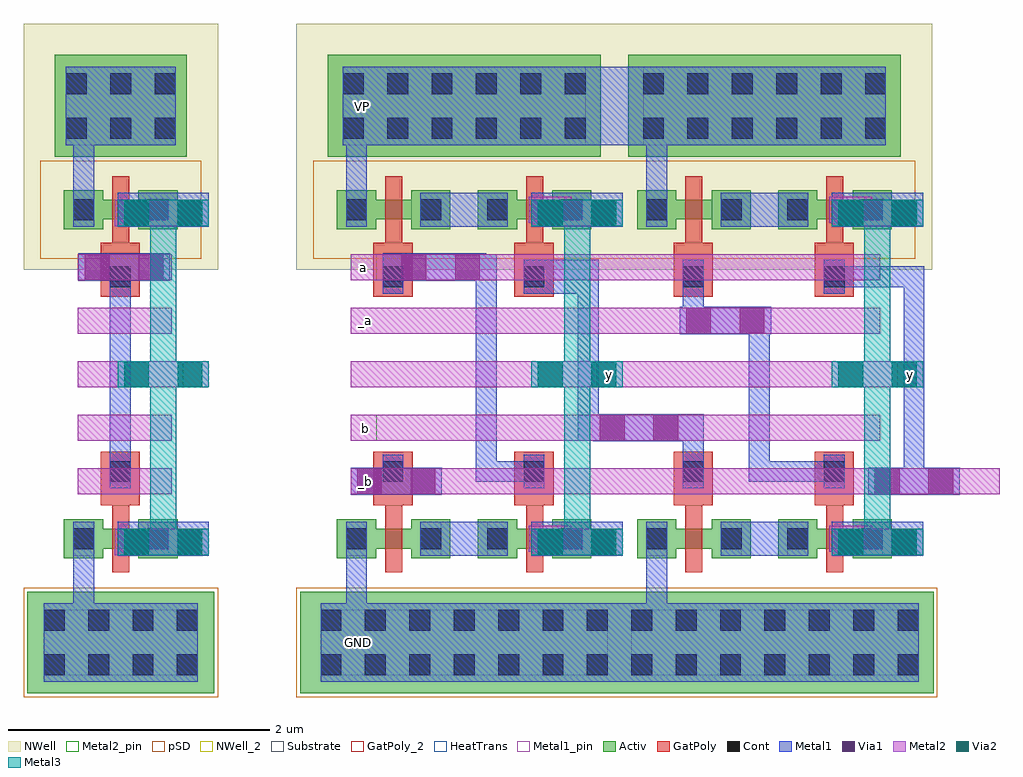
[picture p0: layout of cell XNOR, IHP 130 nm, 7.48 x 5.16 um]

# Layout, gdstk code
from math import pi, radians
import gdstk
lib = gdstk.Library(unit=1e-6, precision=1e-09)
def R(c, l, rs):  # rectangles x0, y0, x1, y1
    for r in rs: c.add(gdstk.rectangle(r[:2], r[2:], *l))
def A(c, l, x, y, w, h, nx, ny, dx, dy):  # array of equal rectangles
    R(c, l, [(x+i*dx, y+j*dy, x+i*dx+w, y+j*dy+h) for i in range(nx) for j in range(ny)])
Activ = (1, 0)
GatPoly = (5, 0)
GatPoly_2 = (5, 2)
Cont = (6, 0)
Metal1 = (8, 0)
Metal1_pin = (8, 2)
Metal2 = (10, 0)
Metal2_pin = (10, 2)
pSD = (14, 0)
Via1 = (19, 0)
Via2 = (29, 0)
Metal3 = (30, 0)
NWell = (31, 0)
NWell_2 = (31, 2)
Substrate = (40, 0)
HeatTrans = (51, 0)

ntap1 = lib.new_cell('ntap1')
R(ntap1, Activ, [(0,0,2.09,0.78)])
A(ntap1, Cont, 0.115, 0.14, 0.16, 0.16, 6, 2, 0.34, 0.34)
R(ntap1, Metal1, [(0.115,0.09,1.975,0.69)])
R(ntap1, Metal1_pin, [(0.115,0.09,1.975,0.69), (0.115,0.14,1.975,0.64)])
R(ntap1, NWell, [(-0.24,-0.24,2.33,1.02), (0,0,2.09,0.78)])
R(ntap1, NWell_2, [(0,0,2.09,0.78)])
ntap1.add(gdstk.Label('well', (1.045,0.01), layer=63, texttype=0))
ntap1.add(gdstk.Label('well', (1.045,0.01), layer=31, texttype=0))

ptap1 = lib.new_cell('ptap1')
R(ptap1, Activ, [(0,0,2.51,0.78)])
A(ptap1, Cont, 0.155, 0.14, 0.16, 0.16, 7, 2, 0.34, 0.34)
R(ptap1, Metal1, [(0.155,0.09,2.355,0.69), (0.155,0.14,2.355,0.64)])
R(ptap1, Metal1_pin, [(0.155,0.14,2.355,0.64)])
R(ptap1, pSD, [(-0.03,-0.03,2.54,0.81)])
R(ptap1, Substrate, [(0,0,2.51,0.78)])
ptap1.add(gdstk.Label('sub!', (1.255,0.01), layer=63, texttype=0))
ptap1.add(gdstk.Label('sub!', (1.255,0.01), layer=40, texttype=0))

nmos = lib.new_cell('nmos')
R(nmos, Activ, [(0,0,0.3,0.3), (0.57,0,0.87,0.3), (0,0.075,0.87,0.225)])
R(nmos, GatPoly, [(0.37,-0.105,0.5,0.405)])
R(nmos, GatPoly_2, [(0.37,-0.105,0.5,0.405)])
R(nmos, Cont, [(0.07,0.07,0.23,0.23), (0.64,0.07,0.8,0.23)])
R(nmos, Metal1, [(0.07,0.02,0.23,0.28), (0.64,0.02,0.8,0.28)])
R(nmos, Metal1_pin, [(0.07,0.02,0.23,0.28), (0.64,0.02,0.8,0.28)])
R(nmos, HeatTrans, [(0.37,-0.105,0.5,0.405)])
nmos.add(gdstk.Label('nmos', (0.435,0.15), layer=63, texttype=0))
nmos.add(gdstk.Label('nmos', (0.435,0.15), layer=51, texttype=0))

pmos = lib.new_cell('pmos')
R(pmos, Activ, [(0,0,0.3,0.3), (0.57,0,0.87,0.3), (0,0.075,0.87,0.225)])
R(pmos, GatPoly, [(0.37,-0.105,0.5,0.405), (0.37,-0.105,0.5,0.405)])
R(pmos, Cont, [(0.07,0.07,0.23,0.23), (0.64,0.07,0.8,0.23)])
R(pmos, Metal1, [(0.07,0.02,0.23,0.28), (0.07,0.02,0.23,0.28), (0.64,0.02,0.8,0.28), (0.64,0.02,0.8,0.28)])
R(pmos, pSD, [(-0.18,-0.225,1.05,0.525)])
R(pmos, NWell, [(-0.31,-0.31,1.18,0.61)])
R(pmos, Substrate, [(0.57,0,0.87,0.3)])
R(pmos, HeatTrans, [(0.37,-0.105,0.5,0.405)])
pmos.add(gdstk.Label('pmos', (0.435,0.15), layer=63, texttype=0))
pmos.add(gdstk.Label('pmos', (0.435,0.15), layer=51, texttype=0))

via = lib.new_cell('Via')
R(via, GatPoly, [(-0.15,-0.15,0.15,0.15)])
R(via, Cont, [(-0.08,-0.08,0.08,0.08)])
R(via, Metal1, [(-0.13,-0.08,0.13,0.08)])

via_6 = lib.new_cell('Via$6')
R(via_6, Metal1, [(-0.35,-0.105,0.35,0.105)])
R(via_6, Metal2, [(-0.35,-0.1,0.35,0.1)])
R(via_6, Via1, [(-0.3,-0.095,-0.11,0.095), (0.11,-0.095,0.3,0.095)])

via_8 = lib.new_cell('Via$8')
R(via_8, Metal1, [(-0.35,-0.105,0.35,0.105)])
R(via_8, Metal2, [(-0.35,-0.1,0.35,0.1)])
R(via_8, Via1, [(-0.3,-0.095,-0.11,0.095), (0.11,-0.095,0.3,0.095)])

via_10 = lib.new_cell('Via$10')
R(via_10, Metal2, [(-0.35,-0.1,0.35,0.1)])
R(via_10, Via2, [(-0.3,-0.095,-0.11,0.095), (0.11,-0.095,0.3,0.095)])
R(via_10, Metal3, [(-0.35,-0.1,0.35,0.1)])

via_4 = lib.new_cell('Via$4')
R(via_4, Metal2, [(-0.1,-0.35,0.1,0.35)])
R(via_4, Via2, [(-0.095,-0.3,0.095,-0.11), (-0.095,0.11,0.095,0.3)])
R(via_4, Metal3, [(-0.1,-0.35,0.1,0.35)])

via_2 = lib.new_cell('Via$2')
R(via_2, Metal1, [(-0.105,-0.35,0.105,0.35)])
R(via_2, Metal2, [(-0.1,-0.35,0.1,0.35)])
R(via_2, Via1, [(-0.095,-0.3,0.095,-0.11), (-0.095,0.11,0.095,0.3)])

ptap1_1 = lib.new_cell('ptap1$1')
R(ptap1_1, Activ, [(0,0,2.43,0.78)])
A(ptap1_1, Cont, 0.115, 0.14, 0.16, 0.16, 7, 2, 0.34, 0.34)
R(ptap1_1, Metal1, [(0.115,0.09,2.315,0.69), (0.115,0.14,2.315,0.64)])
R(ptap1_1, Metal1_pin, [(0.115,0.14,2.315,0.64)])
R(ptap1_1, pSD, [(-0.03,-0.03,2.46,0.81)])
R(ptap1_1, Substrate, [(0,0,2.43,0.78)])
ptap1_1.add(gdstk.Label('sub!', (1.215,0.01), layer=63, texttype=0))
ptap1_1.add(gdstk.Label('sub!', (1.215,0.01), layer=40, texttype=0))

via_12 = lib.new_cell('Via$12')
R(via_12, Metal1, [(-0.35,-0.105,0.35,0.105)])
R(via_12, Metal2, [(-0.35,-0.1,0.35,0.1)])
R(via_12, Via1, [(-0.3,-0.095,-0.11,0.095), (0.11,-0.095,0.3,0.095)])

via_4_1 = lib.new_cell('Via$4$1')
R(via_4_1, Metal2, [(-0.1,-0.35,0.1,0.35)])
R(via_4_1, Via2, [(-0.095,-0.3,0.095,-0.11), (-0.095,0.11,0.095,0.3)])
R(via_4_1, Metal3, [(-0.1,-0.35,0.1,0.35)])

ntap1_1 = lib.new_cell('ntap1$1')
R(ntap1_1, Activ, [(0,0,1.01,0.78)])
A(ntap1_1, Cont, 0.085, 0.14, 0.16, 0.16, 3, 2, 0.34, 0.34)
R(ntap1_1, Metal1, [(0.085,0.09,0.925,0.69)])
R(ntap1_1, Metal1_pin, [(0.085,0.09,0.925,0.69), (0.085,0.14,0.925,0.64)])
R(ntap1_1, NWell, [(-0.24,-0.24,1.25,1.02), (0,0,1.01,0.78)])
R(ntap1_1, NWell_2, [(0,0,1.01,0.78)])
ntap1_1.add(gdstk.Label('well', (0.505,0.01), layer=63, texttype=0))
ntap1_1.add(gdstk.Label('well', (0.505,0.01), layer=31, texttype=0))

ptap1_2 = lib.new_cell('ptap1$2')
R(ptap1_2, Activ, [(0,0,1.43,0.78)])
A(ptap1_2, Cont, 0.125, 0.14, 0.16, 0.16, 4, 2, 0.34, 0.34)
R(ptap1_2, Metal1, [(0.125,0.09,1.305,0.69), (0.125,0.14,1.305,0.64)])
R(ptap1_2, Metal1_pin, [(0.125,0.14,1.305,0.64)])
R(ptap1_2, pSD, [(-0.03,-0.03,1.46,0.81)])
R(ptap1_2, Substrate, [(0,0,1.43,0.78)])
ptap1_2.add(gdstk.Label('sub!', (0.715,0.01), layer=63, texttype=0))
ptap1_2.add(gdstk.Label('sub!', (0.715,0.01), layer=40, texttype=0))

via_2_1 = lib.new_cell('Via$2$1')
R(via_2_1, Metal1, [(-0.105,-0.35,0.105,0.35)])
R(via_2_1, Metal2, [(-0.1,-0.35,0.1,0.35)])
R(via_2_1, Via1, [(-0.095,-0.3,0.095,-0.11), (-0.095,0.11,0.095,0.3)])

nmos_1 = lib.new_cell('nmos$1')
R(nmos_1, Activ, [(0,0,0.3,0.3), (0.57,0,0.87,0.3), (0,0.075,0.87,0.225)])
R(nmos_1, GatPoly, [(0.37,-0.105,0.5,0.405)])
R(nmos_1, GatPoly_2, [(0.37,-0.105,0.5,0.405)])
R(nmos_1, Cont, [(0.07,0.07,0.23,0.23), (0.64,0.07,0.8,0.23)])
R(nmos_1, Metal1, [(0.07,0.02,0.23,0.28), (0.64,0.02,0.8,0.28)])
R(nmos_1, Metal1_pin, [(0.07,0.02,0.23,0.28), (0.64,0.02,0.8,0.28)])
R(nmos_1, HeatTrans, [(0.37,-0.105,0.5,0.405)])
nmos_1.add(gdstk.Label('nmos', (0.435,0.15), layer=63, texttype=0))
nmos_1.add(gdstk.Label('nmos', (0.435,0.15), layer=51, texttype=0))

pmos_1 = lib.new_cell('pmos$1')
R(pmos_1, Activ, [(0,0,0.3,0.3), (0.57,0,0.87,0.3), (0,0.075,0.87,0.225)])
R(pmos_1, GatPoly, [(0.37,-0.105,0.5,0.405), (0.37,-0.105,0.5,0.405)])
R(pmos_1, Cont, [(0.07,0.07,0.23,0.23), (0.64,0.07,0.8,0.23)])
R(pmos_1, Metal1, [(0.07,0.02,0.23,0.28), (0.07,0.02,0.23,0.28), (0.64,0.02,0.8,0.28), (0.64,0.02,0.8,0.28)])
R(pmos_1, pSD, [(-0.18,-0.225,1.05,0.525)])
R(pmos_1, NWell, [(-0.31,-0.31,1.18,0.61)])
R(pmos_1, Substrate, [(0.57,0,0.87,0.3)])
R(pmos_1, HeatTrans, [(0.37,-0.105,0.5,0.405)])
pmos_1.add(gdstk.Label('pmos', (0.435,0.15), layer=63, texttype=0))
pmos_1.add(gdstk.Label('pmos', (0.435,0.15), layer=51, texttype=0))

via_13 = lib.new_cell('Via$13')
R(via_13, GatPoly, [(-0.15,-0.15,0.15,0.15)])
R(via_13, Cont, [(-0.08,-0.08,0.08,0.08)])
R(via_13, Metal1, [(-0.13,-0.08,0.13,0.08)])

via_7 = lib.new_cell('Via$7')
R(via_7, Metal2, [(-0.35,-0.1,0.35,0.1)])
R(via_7, Via2, [(-0.3,-0.095,-0.11,0.095), (0.11,-0.095,0.3,0.095)])
R(via_7, Metal3, [(-0.35,-0.1,0.35,0.1)])

inverter = lib.new_cell('inverter')
R(inverter, GatPoly, [(9.375,7.165,9.675,7.275), (9.375,9.065,9.675,9.175)])
R(inverter, Metal1, [(9.505,6.78,10.205,7.04), (9.505,9.3,10.205,9.56)])
R(inverter, Metal1_pin, [(9.16,6.015,9.36,6.215), (9.325,10.12,9.525,10.32)])
R(inverter, Metal2_pin, [(10.005,8.07,10.205,8.27), (9.2,8.89,9.4,9.09)])
inverter.add(gdstk.FlexPath([(9.65,9.405),(9.485,9.405)], 0.2, ends="flush", simple_path=True, layer=10, datatype=0))  # Metal2
inverter.add(gdstk.FlexPath([(9.65,6.885),(9.485,6.885)], 0.2, ends="flush", simple_path=True, layer=10, datatype=0))  # Metal2
inverter.add(gdstk.FlexPath([(9.2,8.99),(9.92,8.99)], 0.2, ends="flush", simple_path=True, layer=10, datatype=0))  # Metal2
inverter.add(gdstk.FlexPath([(9.2,8.58),(9.92,8.58)], 0.2, ends="flush", simple_path=True, layer=10, datatype=0))  # Metal2
inverter.add(gdstk.FlexPath([(9.2,7.76),(9.92,7.76)], 0.2, ends="flush", simple_path=True, layer=10, datatype=0))  # Metal2
inverter.add(gdstk.FlexPath([(9.2,7.35),(9.92,7.35)], 0.2, ends="flush", simple_path=True, layer=10, datatype=0))  # Metal2
inverter.add(gdstk.FlexPath([(9.2,8.17),(10.205,8.17)], 0.2, ends="flush", simple_path=True, layer=10, datatype=0))  # Metal2
inverter.add(gdstk.FlexPath([(9.855,6.885),(9.855,8.17)], 0.2, ends="flush", simple_path=True, layer=30, datatype=0))  # Metal3
inverter.add(gdstk.FlexPath([(9.855,9.405),(9.855,8.17)], 0.2, ends="flush", simple_path=True, layer=30, datatype=0))  # Metal3
inverter.add(gdstk.FlexPath([(9.245,9.56),(9.245,10.525)], 0.16, ends="flush", simple_path=True, layer=8, datatype=0))  # Metal1
inverter.add(gdstk.FlexPath([(9.245,6.78),(9.245,6.415)], 0.16, ends="flush", simple_path=True, layer=8, datatype=0))  # Metal1
inverter.add(gdstk.FlexPath([(9.525,7.555),(9.525,8.785)], 0.16, ends="flush", simple_path=True, layer=8, datatype=0))  # Metal1
inverter.add(gdstk.Reference(via_4_1, (9.855,6.885), rotation=3*pi/2))
inverter.add(gdstk.Reference(ntap1_1, (9.025,9.835)))
inverter.add(gdstk.Reference(ptap1_2, (8.815,5.725)))
inverter.add(gdstk.Reference(via_2_1, (9.855,6.885), rotation=3*pi/2))
inverter.add(gdstk.Reference(nmos_1, (9.095,6.76)))
inverter.add(gdstk.Reference(pmos_1, (9.095,9.28)))
inverter.add(gdstk.Reference(via_13, (9.525,8.915), rotation=pi/2))
inverter.add(gdstk.Reference(via_13, (9.525,7.425), rotation=3*pi/2))
inverter.add(gdstk.Reference(via_4_1, (9.855,9.405), rotation=3*pi/2))
inverter.add(gdstk.Reference(via_2_1, (9.555,8.99), rotation=3*pi/2))
inverter.add(gdstk.Reference(via_2_1, (9.855,9.405), rotation=3*pi/2))
inverter.add(gdstk.Reference(via_7, (9.855,8.17)))
inverter.add(gdstk.Label('out', (10.105,8.17), layer=10, texttype=25))
inverter.add(gdstk.Label('in', (9.3,8.99), layer=10, texttype=25))
inverter.add(gdstk.Label('VP', (9.295,10.22), layer=8, texttype=25))
inverter.add(gdstk.Label('GND', (9.26,6.115), layer=8, texttype=25))

via_4_1_1 = lib.new_cell('Via$4$1$1')
R(via_4_1_1, Metal2, [(-0.1,-0.35,0.1,0.35)])
R(via_4_1_1, Via2, [(-0.095,-0.3,0.095,-0.11), (-0.095,0.11,0.095,0.3)])
R(via_4_1_1, Metal3, [(-0.1,-0.35,0.1,0.35)])

ntap1_1_1 = lib.new_cell('ntap1$1$1')
R(ntap1_1_1, Activ, [(0,0,1.01,0.78)])
A(ntap1_1_1, Cont, 0.085, 0.14, 0.16, 0.16, 3, 2, 0.34, 0.34)
R(ntap1_1_1, Metal1, [(0.085,0.09,0.925,0.69)])
R(ntap1_1_1, Metal1_pin, [(0.085,0.09,0.925,0.69), (0.085,0.14,0.925,0.64)])
R(ntap1_1_1, NWell, [(-0.24,-0.24,1.25,1.02), (0,0,1.01,0.78)])
R(ntap1_1_1, NWell_2, [(0,0,1.01,0.78)])
ntap1_1_1.add(gdstk.Label('well', (0.505,0.01), layer=63, texttype=0))
ntap1_1_1.add(gdstk.Label('well', (0.505,0.01), layer=31, texttype=0))

ptap1_2_1 = lib.new_cell('ptap1$2$1')
R(ptap1_2_1, Activ, [(0,0,1.43,0.78)])
A(ptap1_2_1, Cont, 0.125, 0.14, 0.16, 0.16, 4, 2, 0.34, 0.34)
R(ptap1_2_1, Metal1, [(0.125,0.09,1.305,0.69), (0.125,0.14,1.305,0.64)])
R(ptap1_2_1, Metal1_pin, [(0.125,0.14,1.305,0.64)])
R(ptap1_2_1, pSD, [(-0.03,-0.03,1.46,0.81)])
R(ptap1_2_1, Substrate, [(0,0,1.43,0.78)])
ptap1_2_1.add(gdstk.Label('sub!', (0.715,0.01), layer=63, texttype=0))
ptap1_2_1.add(gdstk.Label('sub!', (0.715,0.01), layer=40, texttype=0))

via_2_1_1 = lib.new_cell('Via$2$1$1')
R(via_2_1_1, Metal1, [(-0.105,-0.35,0.105,0.35)])
R(via_2_1_1, Metal2, [(-0.1,-0.35,0.1,0.35)])
R(via_2_1_1, Via1, [(-0.095,-0.3,0.095,-0.11), (-0.095,0.11,0.095,0.3)])

nmos_1_1 = lib.new_cell('nmos$1$1')
R(nmos_1_1, Activ, [(0,0,0.3,0.3), (0.57,0,0.87,0.3), (0,0.075,0.87,0.225)])
R(nmos_1_1, GatPoly, [(0.37,-0.105,0.5,0.405)])
R(nmos_1_1, GatPoly_2, [(0.37,-0.105,0.5,0.405)])
R(nmos_1_1, Cont, [(0.07,0.07,0.23,0.23), (0.64,0.07,0.8,0.23)])
R(nmos_1_1, Metal1, [(0.07,0.02,0.23,0.28), (0.64,0.02,0.8,0.28)])
R(nmos_1_1, Metal1_pin, [(0.07,0.02,0.23,0.28), (0.64,0.02,0.8,0.28)])
R(nmos_1_1, HeatTrans, [(0.37,-0.105,0.5,0.405)])
nmos_1_1.add(gdstk.Label('nmos', (0.435,0.15), layer=63, texttype=0))
nmos_1_1.add(gdstk.Label('nmos', (0.435,0.15), layer=51, texttype=0))

pmos_1_1 = lib.new_cell('pmos$1$1')
R(pmos_1_1, Activ, [(0,0,0.3,0.3), (0.57,0,0.87,0.3), (0,0.075,0.87,0.225)])
R(pmos_1_1, GatPoly, [(0.37,-0.105,0.5,0.405), (0.37,-0.105,0.5,0.405)])
R(pmos_1_1, Cont, [(0.07,0.07,0.23,0.23), (0.64,0.07,0.8,0.23)])
R(pmos_1_1, Metal1, [(0.07,0.02,0.23,0.28), (0.07,0.02,0.23,0.28), (0.64,0.02,0.8,0.28), (0.64,0.02,0.8,0.28)])
R(pmos_1_1, pSD, [(-0.18,-0.225,1.05,0.525)])
R(pmos_1_1, NWell, [(-0.31,-0.31,1.18,0.61)])
R(pmos_1_1, Substrate, [(0.57,0,0.87,0.3)])
R(pmos_1_1, HeatTrans, [(0.37,-0.105,0.5,0.405)])
pmos_1_1.add(gdstk.Label('pmos', (0.435,0.15), layer=63, texttype=0))
pmos_1_1.add(gdstk.Label('pmos', (0.435,0.15), layer=51, texttype=0))

via_13_1 = lib.new_cell('Via$13$1')
R(via_13_1, GatPoly, [(-0.15,-0.15,0.15,0.15)])
R(via_13_1, Cont, [(-0.08,-0.08,0.08,0.08)])
R(via_13_1, Metal1, [(-0.13,-0.08,0.13,0.08)])

via_7_1 = lib.new_cell('Via$7$1')
R(via_7_1, Metal2, [(-0.35,-0.1,0.35,0.1)])
R(via_7_1, Via2, [(-0.3,-0.095,-0.11,0.095), (0.11,-0.095,0.3,0.095)])
R(via_7_1, Metal3, [(-0.35,-0.1,0.35,0.1)])

inverter_1 = lib.new_cell('inverter$1')
R(inverter_1, GatPoly, [(9.375,7.165,9.675,7.275), (9.375,9.065,9.675,9.175)])
R(inverter_1, Metal1, [(9.505,6.78,10.205,7.04), (9.505,9.3,10.205,9.56)])
R(inverter_1, Metal1_pin, [(9.16,6.015,9.36,6.215), (9.325,10.12,9.525,10.32)])
R(inverter_1, Metal2_pin, [(10.005,8.07,10.205,8.27), (9.2,8.89,9.4,9.09)])
inverter_1.add(gdstk.FlexPath([(9.65,9.405),(9.485,9.405)], 0.2, ends="flush", simple_path=True, layer=10, datatype=0))  # Metal2
inverter_1.add(gdstk.FlexPath([(9.65,6.885),(9.485,6.885)], 0.2, ends="flush", simple_path=True, layer=10, datatype=0))  # Metal2
inverter_1.add(gdstk.FlexPath([(9.2,8.99),(9.92,8.99)], 0.2, ends="flush", simple_path=True, layer=10, datatype=0))  # Metal2
inverter_1.add(gdstk.FlexPath([(9.2,8.58),(9.92,8.58)], 0.2, ends="flush", simple_path=True, layer=10, datatype=0))  # Metal2
inverter_1.add(gdstk.FlexPath([(9.2,7.76),(9.92,7.76)], 0.2, ends="flush", simple_path=True, layer=10, datatype=0))  # Metal2
inverter_1.add(gdstk.FlexPath([(9.2,7.35),(9.92,7.35)], 0.2, ends="flush", simple_path=True, layer=10, datatype=0))  # Metal2
inverter_1.add(gdstk.FlexPath([(9.2,8.17),(10.205,8.17)], 0.2, ends="flush", simple_path=True, layer=10, datatype=0))  # Metal2
inverter_1.add(gdstk.FlexPath([(9.855,6.885),(9.855,8.17)], 0.2, ends="flush", simple_path=True, layer=30, datatype=0))  # Metal3
inverter_1.add(gdstk.FlexPath([(9.855,9.405),(9.855,8.17)], 0.2, ends="flush", simple_path=True, layer=30, datatype=0))  # Metal3
inverter_1.add(gdstk.FlexPath([(9.245,9.56),(9.245,10.525)], 0.16, ends="flush", simple_path=True, layer=8, datatype=0))  # Metal1
inverter_1.add(gdstk.FlexPath([(9.245,6.78),(9.245,6.415)], 0.16, ends="flush", simple_path=True, layer=8, datatype=0))  # Metal1
inverter_1.add(gdstk.FlexPath([(9.525,7.555),(9.525,8.785)], 0.16, ends="flush", simple_path=True, layer=8, datatype=0))  # Metal1
inverter_1.add(gdstk.Reference(via_4_1_1, (9.855,6.885), rotation=3*pi/2))
inverter_1.add(gdstk.Reference(ntap1_1_1, (9.025,9.835)))
inverter_1.add(gdstk.Reference(ptap1_2_1, (8.815,5.725)))
inverter_1.add(gdstk.Reference(via_2_1_1, (9.855,6.885), rotation=3*pi/2))
inverter_1.add(gdstk.Reference(nmos_1_1, (9.095,6.76)))
inverter_1.add(gdstk.Reference(pmos_1_1, (9.095,9.28)))
inverter_1.add(gdstk.Reference(via_13_1, (9.525,8.915), rotation=pi/2))
inverter_1.add(gdstk.Reference(via_13_1, (9.525,7.425), rotation=3*pi/2))
inverter_1.add(gdstk.Reference(via_4_1_1, (9.855,9.405), rotation=3*pi/2))
inverter_1.add(gdstk.Reference(via_2_1_1, (9.555,8.99), rotation=3*pi/2))
inverter_1.add(gdstk.Reference(via_2_1_1, (9.855,9.405), rotation=3*pi/2))
inverter_1.add(gdstk.Reference(via_7_1, (9.855,8.17)))
inverter_1.add(gdstk.Label('out', (10.105,8.17), layer=10, texttype=25))
inverter_1.add(gdstk.Label('in', (9.3,8.99), layer=10, texttype=25))
inverter_1.add(gdstk.Label('VP', (9.295,10.22), layer=8, texttype=25))
inverter_1.add(gdstk.Label('GND', (9.26,6.115), layer=8, texttype=25))

xnor = lib.new_cell('XNOR')
R(xnor, GatPoly, [(9.375,7.165,9.675,7.275), (10.455,7.165,10.755,7.275), (11.675,7.165,11.975,7.275), (12.755,7.165,13.055,7.275), (9.375,9.065,9.675,9.175), (10.455,9.065,10.755,9.175), (11.675,9.065,11.975,9.175), (12.755,9.065,13.055,9.175)])
R(xnor, Metal1, [(11.12,5.815,11.485,6.415), (11.17,5.815,11.395,6.415), (9.735,6.78,10.405,7.04), (10.585,6.78,11.285,7.04), (12.035,6.78,12.705,7.04), (12.885,6.78,13.585,7.04), (10.525,8.785,11.1,9.045), (9.445,8.885,9.54,9.095), (9.735,9.3,10.405,9.56), (10.585,9.3,11.285,9.56), (12.035,9.3,12.705,9.56), (12.885,9.3,13.585,9.56), (11,9.925,11.63,10.525)])
R(xnor, Metal1_pin, [(9.16,6.015,9.36,6.215), (9.325,10.12,9.525,10.32)])
R(xnor, Metal2_pin, [(9.2,7.66,9.4,7.86), (11.085,8.07,11.285,8.27), (13.385,8.07,13.585,8.27), (9.2,8.89,9.4,9.09)])
xnor.add(gdstk.FlexPath([(13.195,6.91),(12.865,6.91)], 0.2, ends="flush", simple_path=True, layer=10, datatype=0))  # Metal2
xnor.add(gdstk.FlexPath([(13.195,9.43),(12.865,9.43)], 0.2, ends="flush", simple_path=True, layer=10, datatype=0))  # Metal2
xnor.add(gdstk.FlexPath([(11.5,8.17),(13.585,8.17)], 0.2, ends="flush", simple_path=True, layer=10, datatype=0))  # Metal2
xnor.add(gdstk.FlexPath([(11.5,8.99),(13.255,8.99)], 0.2, ends="flush", simple_path=True, layer=10, datatype=0))  # Metal2
xnor.add(gdstk.FlexPath([(11.5,7.76),(13.255,7.76)], 0.2, ends="flush", simple_path=True, layer=10, datatype=0))  # Metal2
xnor.add(gdstk.FlexPath([(11.5,7.35),(13.255,7.35)], 0.2, ends="flush", simple_path=True, layer=10, datatype=0))  # Metal2
xnor.add(gdstk.FlexPath([(11.5,8.58),(10.895,8.58)], 0.2, ends="flush", simple_path=True, layer=10, datatype=0))  # Metal2
xnor.add(gdstk.FlexPath([(11.5,7.35),(10.87,7.35)], 0.2, ends="flush", simple_path=True, layer=10, datatype=0))  # Metal2
xnor.add(gdstk.FlexPath([(11.76,7.76),(11.06,7.76)], 0.2, ends="flush", simple_path=True, layer=10, datatype=0))  # Metal2
xnor.add(gdstk.FlexPath([(11.5,8.99),(10.785,8.99)], 0.2, ends="flush", simple_path=True, layer=10, datatype=0))  # Metal2
xnor.add(gdstk.FlexPath([(10.895,6.91),(10.565,6.91)], 0.2, ends="flush", simple_path=True, layer=10, datatype=0))  # Metal2
xnor.add(gdstk.FlexPath([(13.1,7.35),(14.17,7.35)], 0.2, ends="flush", simple_path=True, layer=10, datatype=0))  # Metal2
xnor.add(gdstk.FlexPath([(13.515,7.35),(13.515,7.35)], 0.2, ends="flush", simple_path=True, layer=10, datatype=0))  # Metal2
xnor.add(gdstk.FlexPath([(10.71,7.76),(11.73,7.76)], 0.2, ends="flush", simple_path=True, layer=10, datatype=0))  # Metal2
xnor.add(gdstk.FlexPath([(11.285,8.17),(11.5,8.17)], 0.2, ends="flush", simple_path=True, layer=10, datatype=0))  # Metal2
xnor.add(gdstk.FlexPath([(11.5,8.58),(13.255,8.58)], 0.2, ends="flush", simple_path=True, layer=10, datatype=0))  # Metal2
xnor.add(gdstk.FlexPath([(10.895,9.43),(10.565,9.43)], 0.2, ends="flush", simple_path=True, layer=10, datatype=0))  # Metal2
xnor.add(gdstk.FlexPath([(9.2,8.17),(11.285,8.17)], 0.2, ends="flush", simple_path=True, layer=10, datatype=0))  # Metal2
xnor.add(gdstk.FlexPath([(9.2,8.99),(10.955,8.99)], 0.2, ends="flush", simple_path=True, layer=10, datatype=0))  # Metal2
xnor.add(gdstk.FlexPath([(9.2,8.58),(10.955,8.58)], 0.2, ends="flush", simple_path=True, layer=10, datatype=0))  # Metal2
xnor.add(gdstk.FlexPath([(9.2,7.76),(10.955,7.76)], 0.2, ends="flush", simple_path=True, layer=10, datatype=0))  # Metal2
xnor.add(gdstk.FlexPath([(9.2,7.35),(10.955,7.35)], 0.2, ends="flush", simple_path=True, layer=10, datatype=0))  # Metal2
xnor.add(gdstk.FlexPath([(10.935,9.405),(10.935,8.17)], 0.2, ends="flush", simple_path=True, layer=30, datatype=0))  # Metal3
xnor.add(gdstk.FlexPath([(10.935,8.17),(10.935,6.885)], 0.2, ends="flush", simple_path=True, layer=30, datatype=0))  # Metal3
xnor.add(gdstk.FlexPath([(13.235,9.405),(13.235,8.17)], 0.2, ends="flush", simple_path=True, layer=30, datatype=0))  # Metal3
xnor.add(gdstk.FlexPath([(13.235,8.17),(13.235,6.885)], 0.2, ends="flush", simple_path=True, layer=30, datatype=0))  # Metal3
xnor.add(gdstk.FlexPath([(10.605,7.425),(10.24,7.425),(10.24,9.09)], 0.16, ends="flush", simple_path=True, layer=8, datatype=0))  # Metal1
xnor.add(gdstk.FlexPath([(11.02,7.76),(11.02,8.92)], 0.16, ends="flush", simple_path=True, layer=8, datatype=0))  # Metal1
xnor.add(gdstk.FlexPath([(11.545,9.56),(11.545,10.525)], 0.16, ends="flush", simple_path=True, layer=8, datatype=0))  # Metal1
xnor.add(gdstk.FlexPath([(11.545,6.78),(11.545,6.415)], 0.16, ends="flush", simple_path=True, layer=8, datatype=0))  # Metal1
xnor.add(gdstk.FlexPath([(13.515,7.35),(13.515,8.915),(12.905,8.915)], 0.16, ends="flush", simple_path=True, layer=8, datatype=0))  # Metal1
xnor.add(gdstk.FlexPath([(11.825,8.915),(11.825,8.58)], 0.16, ends="flush", simple_path=True, layer=8, datatype=0))  # Metal1
xnor.add(gdstk.FlexPath([(11.02,7.76),(11.02,7.66)], 0.16, ends="flush", simple_path=True, layer=8, datatype=0))  # Metal1
xnor.add(gdstk.FlexPath([(11.825,7.425),(11.825,7.865)], 0.16, ends="flush", simple_path=True, layer=8, datatype=0))  # Metal1
xnor.add(gdstk.FlexPath([(12.905,7.425),(12.33,7.425),(12.33,8.58)], 0.16, ends="flush", simple_path=True, layer=8, datatype=0))  # Metal1
xnor.add(gdstk.FlexPath([(9.245,9.56),(9.245,10.525)], 0.16, ends="flush", simple_path=True, layer=8, datatype=0))  # Metal1
xnor.add(gdstk.FlexPath([(9.245,6.78),(9.245,6.415)], 0.16, ends="flush", simple_path=True, layer=8, datatype=0))  # Metal1
xnor.add(gdstk.Reference(ntap1, (9.025,9.835)))
xnor.add(gdstk.Reference(ptap1, (8.815,5.725)))
xnor.add(gdstk.Reference(nmos, (10.175,6.76)))
xnor.add(gdstk.Reference(pmos, (10.175,9.28)))
xnor.add(gdstk.Reference(nmos, (9.095,6.76)))
xnor.add(gdstk.Reference(pmos, (9.095,9.28)))
xnor.add(gdstk.Reference(via, (10.605,8.915), rotation=pi/2))
xnor.add(gdstk.Reference(via, (9.525,7.425), rotation=3*pi/2))
xnor.add(gdstk.Reference(via_6, (9.89,8.99)))
xnor.add(gdstk.Reference(via, (9.525,8.915), rotation=pi/2))
xnor.add(gdstk.Reference(via, (10.605,7.425), rotation=3*pi/2))
xnor.add(gdstk.Reference(via_8, (11.41,7.76)))
xnor.add(gdstk.Reference(via_10, (10.935,8.17)))
xnor.add(gdstk.Reference(via_4, (13.235,9.405), rotation=3*pi/2))
xnor.add(gdstk.Reference(via_2, (13.235,9.405), rotation=3*pi/2))
xnor.add(gdstk.Reference(ntap1, (11.325,9.835)))
xnor.add(gdstk.Reference(ptap1_1, (11.235,5.725)))
xnor.add(gdstk.Reference(nmos, (12.475,6.76)))
xnor.add(gdstk.Reference(pmos, (12.475,9.28)))
xnor.add(gdstk.Reference(nmos, (11.395,6.76)))
xnor.add(gdstk.Reference(pmos, (11.395,9.28)))
xnor.add(gdstk.Reference(via, (12.905,8.915), rotation=pi/2))
xnor.add(gdstk.Reference(via, (11.825,7.425), rotation=3*pi/2))
xnor.add(gdstk.Reference(via_4, (13.235,6.885), rotation=3*pi/2))
xnor.add(gdstk.Reference(via_2, (13.235,6.885), rotation=3*pi/2))
xnor.add(gdstk.Reference(via_8, (9.55,7.35)))
xnor.add(gdstk.Reference(via, (11.825,8.915), rotation=pi/2))
xnor.add(gdstk.Reference(via, (12.905,7.425), rotation=3*pi/2))
xnor.add(gdstk.Reference(via_10, (13.235,8.17)))
xnor.add(gdstk.Reference(via_2, (10.935,6.885), rotation=3*pi/2))
xnor.add(gdstk.Reference(via_4, (10.935,6.885), rotation=3*pi/2))
xnor.add(gdstk.Reference(via_2, (10.935,9.405), rotation=3*pi/2))
xnor.add(gdstk.Reference(via_4, (10.935,9.405), rotation=3*pi/2))
xnor.add(gdstk.Reference(via_12, (13.515,7.35)))
xnor.add(gdstk.Reference(via_8, (12.07,8.58)))
xnor.add(gdstk.Reference(inverter, (-2.09,0)))
xnor.add(gdstk.Reference(inverter_1, (-2.09,0)))
xnor.add(gdstk.Label('_a', (9.315,8.58), layer=10, texttype=0))
xnor.add(gdstk.Label('_b', (9.315,7.345), layer=10, texttype=0))
xnor.add(gdstk.Label('b', (9.315,7.755), layer=10, texttype=25))
xnor.add(gdstk.Label('y', (13.485,8.17), layer=10, texttype=25))
xnor.add(gdstk.Label('y', (11.185,8.17), layer=10, texttype=25))
xnor.add(gdstk.Label('a', (9.3,8.99), layer=10, texttype=25))
xnor.add(gdstk.Label('VP', (9.295,10.22), layer=8, texttype=25))
xnor.add(gdstk.Label('GND', (9.26,6.115), layer=8, texttype=25))

lib.write_gds('XNOR.gds')
